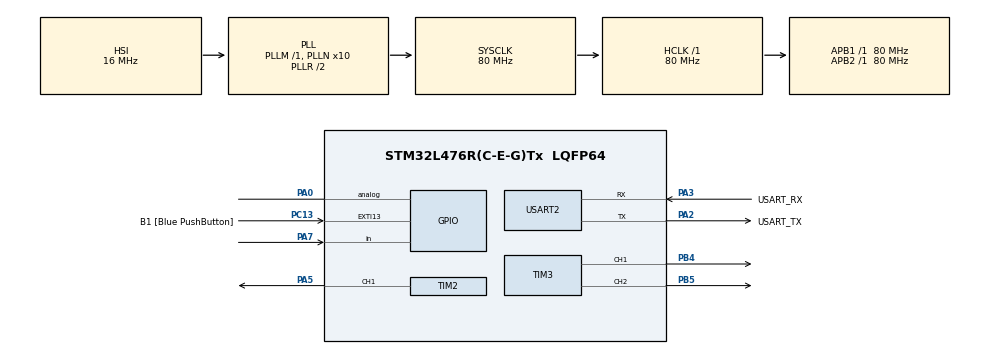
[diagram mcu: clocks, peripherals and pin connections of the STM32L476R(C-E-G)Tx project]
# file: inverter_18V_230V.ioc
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Mcu.Family=STM32L4
Mcu.Name=STM32L476R(C-E-G)Tx
Mcu.Package=LQFP64
NVIC.PriorityGroup=NVIC_PRIORITYGROUP_4
PA0.Signal=GPIO_Analog
PA13\ (JTMS-SWDIO).GPIO_Label=TMS
PA13\ (JTMS-SWDIO).Mode=Serial_Wire
PA13\ (JTMS-SWDIO).Signal=SYS_JTMS-SWDIO
PA14\ (JTCK-SWCLK).GPIO_Label=TCK
PA14\ (JTCK-SWCLK).Mode=Serial_Wire
PA14\ (JTCK-SWCLK).Signal=SYS_JTCK-SWCLK
PA2.GPIO_Label=USART_TX
PA2.GPIO_Mode=GPIO_MODE_AF_PP
PA2.GPIO_PuPd=GPIO_NOPULL
PA2.GPIO_Speed=GPIO_SPEED_FREQ_VERY_HIGH
PA2.Mode=Asynchronous
PA2.Signal=USART2_TX
PA3.GPIO_Label=USART_RX
PA3.GPIO_Mode=GPIO_MODE_AF_PP
PA3.GPIO_PuPd=GPIO_NOPULL
PA3.GPIO_Speed=GPIO_SPEED_FREQ_VERY_HIGH
PA3.Mode=Asynchronous
PA3.Signal=USART2_RX
PA5.Signal=S_TIM2_CH1
PA7.Signal=GPIO_Input
PA9.Signal=S_TIM1_CH2
PB3\ (JTDO-TRACESWO).GPIO_Label=SWO
PB3\ (JTDO-TRACESWO).Signal=SYS_JTDO-SWO
PB4\ (NJTRST).Signal=S_TIM3_CH1
PB5.Signal=S_TIM3_CH2
PC13.GPIO_Label=B1 [Blue PushButton]
PC13.GPIO_ModeDefaultEXTI=GPIO_MODE_IT_FALLING
PC13.GPIO_PuPd=GPIO_NOPULL
PC13.Signal=GPXTI13
PC14-OSC32_IN\ (PC14).Mode=LSE-External-Oscillator
PC14-OSC32_IN\ (PC14).Signal=RCC_OSC32_IN
PC15-OSC32_OUT\ (PC15).Mode=LSE-External-Oscillator
PC15-OSC32_OUT\ (PC15).Signal=RCC_OSC32_OUT
PH0-OSC_IN\ (PH0).Mode=HSE-External-Oscillator
PH0-OSC_IN\ (PH0).Signal=RCC_OSC_IN
PH1-OSC_OUT\ (PH1).Mode=HSE-External-Oscillator
PH1-OSC_OUT\ (PH1).Signal=RCC_OSC_OUT
ProjectManager.HeapSize=0x200
ProjectManager.StackSize=0x400
ProjectManager.TargetToolchain=STM32CubeIDE
RCC.ADCFreq_Value=64000000
RCC.AHBFreq_Value=80000000
RCC.APB1Freq_Value=80000000
RCC.APB1TimFreq_Value=80000000
RCC.APB2Freq_Value=80000000
RCC.APB2TimFreq_Value=80000000
RCC.CortexFreq_Value=80000000
RCC.HCLKFreq_Value=80000000
RCC.HSE_VALUE=8000000
RCC.HSI_VALUE=16000000
RCC.MSI_VALUE=4000000
RCC.PLLN=10
RCC.PLLSourceVirtual=RCC_PLLSOURCE_HSI
RCC.PREFETCH_ENABLE=1
RCC.SYSCLKFreq_VALUE=80000000
RCC.SYSCLKSource=RCC_SYSCLKSOURCE_PLLCLK
RCC.USBFreq_Value=64000000
RCC.VCOOutputFreq_Value=160000000
SH.S_TIM1_CH2.0=TIM1_CH2
SH.S_TIM2_CH1.0=TIM2_CH1,PWM Generation1 CH1
SH.S_TIM3_CH1.0=TIM3_CH1,PWM Generation1 CH1
SH.S_TIM3_CH2.0=TIM3_CH2,PWM Generation2 CH2
TIM2.AutoReloadPreload=TIM_AUTORELOAD_PRELOAD_ENABLE
TIM2.Channel-PWM\ Generation1\ CH1=TIM_CHANNEL_1
TIM2.Period=65535
TIM3.Channel-PWM\ Generation1\ CH1=TIM_CHANNEL_1
TIM3.Channel-PWM\ Generation2\ CH2=TIM_CHANNEL_2
USART2.VirtualMode-Asynchronous=VM_ASYNC
VP_TIM2_VS_ClockSourceINT.Mode=Internal
board=NUCLEO-L476RG

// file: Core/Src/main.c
/* USER CODE BEGIN Header */
/**
  ******************************************************************************
  * @file           : main.c
  * @brief          : Main program body
  ******************************************************************************
  * @attention
  *
  * Copyright (c) 2022 STMicroelectronics.
  * All rights reserved.
  *
  * This software is licensed under terms that can be found in the LICENSE file
  * in the root directory of this software component.
  * If no LICENSE file comes with this software, it is provided AS-IS.
  *
  ******************************************************************************
  */
/* USER CODE END Header */
#include "main.h"

/* USER CODE BEGIN PTD */
typedef enum { Positiv_rising, Positiv_falling, Negative_falling, Negative_rising } states;
/* USER CODE END PTD */

 TIM_HandleTypeDef htim2;
TIM_HandleTypeDef htim3;

UART_HandleTypeDef huart2;

void SystemClock_Config(void);
static void MX_GPIO_Init(void);
static void MX_USART2_UART_Init(void);
static void MX_TIM2_Init(void);
static void MX_TIM3_Init(void);

int main(void)
{
  /* USER CODE BEGIN 1 */
  int32_t CH1_DC = 0;
  int32_t UPPER_THRESHOLD = 43690;
  int16_t STEP_SIZE = UPPER_THRESHOLD/5;
  states Wavestatus = Positiv_rising;

  /* USER CODE END 1 */

  /* MCU Configuration--------------------------------------------------------*/

  /* Reset of all peripherals, Initializes the Flash interface and the Systick. */
  HAL_Init();

  /* Configure the system clock */
  SystemClock_Config();

  /* Initialize all configured peripherals */
  MX_GPIO_Init();
  MX_USART2_UART_Init();
  MX_TIM2_Init();
  MX_TIM3_Init();
  /* USER CODE BEGIN 2 */
  // Start PWM
  HAL_TIM_PWM_Start(&htim2, TIM_CHANNEL_1);
  HAL_TIM_PWM_Start(&htim3, TIM_CHANNEL_1);
  HAL_TIM_PWM_Start(&htim3, TIM_CHANNEL_2);

  /* USER CODE END 2 */

  /* Infinite loop */
  /* USER CODE BEGIN WHILE */
  while (1)
  {
	  switch(Wavestatus) {
	  case Positiv_rising: {
		  CH1_DC += STEP_SIZE;
		  TIM2->CCR1 = CH1_DC;
		  __HAL_TIM_SET_COMPARE(&htim3, TIM_CHANNEL_1, CH1_DC);
		  __HAL_TIM_SET_COMPARE(&htim3, TIM_CHANNEL_2, 0);
		  if (CH1_DC >= UPPER_THRESHOLD) Wavestatus = Positiv_falling;
		  break;
	  }
	  case Positiv_falling: {
		  CH1_DC -= STEP_SIZE;
		  TIM2->CCR1 = CH1_DC;
		  __HAL_TIM_SET_COMPARE(&htim3, TIM_CHANNEL_1, CH1_DC);
		  __HAL_TIM_SET_COMPARE(&htim3, TIM_CHANNEL_2, 0);
		  if (CH1_DC <= 0)  Wavestatus = Negative_falling;
		  break;
	  }
	  case Negative_falling: {
		  CH1_DC += STEP_SIZE;
		  __HAL_TIM_SET_COMPARE(&htim3, TIM_CHANNEL_1, 0);
		  __HAL_TIM_SET_COMPARE(&htim3, TIM_CHANNEL_2, CH1_DC);
		  if (CH1_DC >= UPPER_THRESHOLD)  Wavestatus = Negative_rising;
		  break;
	  }
	  case Negative_rising: {
		  CH1_DC -= STEP_SIZE;
		  __HAL_TIM_SET_COMPARE(&htim3, TIM_CHANNEL_1, 0);
		  __HAL_TIM_SET_COMPARE(&htim3, TIM_CHANNEL_2, CH1_DC);
		  if (CH1_DC <= 0)  Wavestatus = Positiv_rising;
		  break;
	  }
	  }
	  HAL_Delay(1);

	  /*
	  while(CH1_DC < UPPER_THRESHOLD)
	  {
		  TIM2->CCR1 = CH1_DC;
		  CH1_DC += STEP_SIZE;
		  HAL_Delay(1);
	  }
	  while(CH1_DC > 0)
	  {
		  TIM2->CCR1 = CH1_DC;
		  CH1_DC -= STEP_SIZE;
		  HAL_Delay(1);
	  }*/

    /* USER CODE END WHILE */

  }
}

void SystemClock_Config(void)
{
  RCC_OscInitTypeDef RCC_OscInitStruct = {0};
  RCC_ClkInitTypeDef RCC_ClkInitStruct = {0};

  /** Configure the main internal regulator output voltage
  */
  if (HAL_PWREx_ControlVoltageScaling(PWR_REGULATOR_VOLTAGE_SCALE1) != HAL_OK)
  {
    Error_Handler();
  }

  /** Initializes the RCC Oscillators according to the specified parameters
  * in the RCC_OscInitTypeDef structure.
  */
  RCC_OscInitStruct.OscillatorType = RCC_OSCILLATORTYPE_HSI;
  RCC_OscInitStruct.HSIState = RCC_HSI_ON;
  RCC_OscInitStruct.HSICalibrationValue = RCC_HSICALIBRATION_DEFAULT;
  RCC_OscInitStruct.PLL.PLLState = RCC_PLL_ON;
  RCC_OscInitStruct.PLL.PLLSource = RCC_PLLSOURCE_HSI;
  RCC_OscInitStruct.PLL.PLLM = 1;
  RCC_OscInitStruct.PLL.PLLN = 10;
  RCC_OscInitStruct.PLL.PLLP = RCC_PLLP_DIV7;
  RCC_OscInitStruct.PLL.PLLQ = RCC_PLLQ_DIV2;
  RCC_OscInitStruct.PLL.PLLR = RCC_PLLR_DIV2;
  if (HAL_RCC_OscConfig(&RCC_OscInitStruct) != HAL_OK)
  {
    Error_Handler();
  }

  /** Initializes the CPU, AHB and APB buses clocks
  */
  RCC_ClkInitStruct.ClockType = RCC_CLOCKTYPE_HCLK|RCC_CLOCKTYPE_SYSCLK
                              |RCC_CLOCKTYPE_PCLK1|RCC_CLOCKTYPE_PCLK2;
  RCC_ClkInitStruct.SYSCLKSource = RCC_SYSCLKSOURCE_PLLCLK;
  RCC_ClkInitStruct.AHBCLKDivider = RCC_SYSCLK_DIV1;
  RCC_ClkInitStruct.APB1CLKDivider = RCC_HCLK_DIV1;
  RCC_ClkInitStruct.APB2CLKDivider = RCC_HCLK_DIV1;

  if (HAL_RCC_ClockConfig(&RCC_ClkInitStruct, FLASH_LATENCY_4) != HAL_OK)
  {
    Error_Handler();
  }
}

static void MX_TIM2_Init(void)
{

  TIM_ClockConfigTypeDef sClockSourceConfig = {0};
  TIM_MasterConfigTypeDef sMasterConfig = {0};
  TIM_OC_InitTypeDef sConfigOC = {0};

  htim2.Instance = TIM2;
  htim2.Init.Prescaler = 0;
  htim2.Init.CounterMode = TIM_COUNTERMODE_UP;
  htim2.Init.Period = 65535;
  htim2.Init.ClockDivision = TIM_CLOCKDIVISION_DIV1;
  htim2.Init.AutoReloadPreload = TIM_AUTORELOAD_PRELOAD_ENABLE;
  if (HAL_TIM_Base_Init(&htim2) != HAL_OK)
  {
    Error_Handler();
  }
  sClockSourceConfig.ClockSource = TIM_CLOCKSOURCE_INTERNAL;
  if (HAL_TIM_ConfigClockSource(&htim2, &sClockSourceConfig) != HAL_OK)
  {
    Error_Handler();
  }
  if (HAL_TIM_PWM_Init(&htim2) != HAL_OK)
  {
    Error_Handler();
  }
  sMasterConfig.MasterOutputTrigger = TIM_TRGO_RESET;
  sMasterConfig.MasterSlaveMode = TIM_MASTERSLAVEMODE_DISABLE;
  if (HAL_TIMEx_MasterConfigSynchronization(&htim2, &sMasterConfig) != HAL_OK)
  {
    Error_Handler();
  }
  sConfigOC.OCMode = TIM_OCMODE_PWM1;
  sConfigOC.Pulse = 0;
  sConfigOC.OCPolarity = TIM_OCPOLARITY_HIGH;
  sConfigOC.OCFastMode = TIM_OCFAST_DISABLE;
  if (HAL_TIM_PWM_ConfigChannel(&htim2, &sConfigOC, TIM_CHANNEL_1) != HAL_OK)
  {
    Error_Handler();
  }
  HAL_TIM_MspPostInit(&htim2);

}

static void MX_TIM3_Init(void)
{

  TIM_MasterConfigTypeDef sMasterConfig = {0};
  TIM_OC_InitTypeDef sConfigOC = {0};

  htim3.Instance = TIM3;
  htim3.Init.Prescaler = 0;
  htim3.Init.CounterMode = TIM_COUNTERMODE_UP;
  htim3.Init.Period = 65535;
  htim3.Init.ClockDivision = TIM_CLOCKDIVISION_DIV1;
  htim3.Init.AutoReloadPreload = TIM_AUTORELOAD_PRELOAD_DISABLE;
  if (HAL_TIM_PWM_Init(&htim3) != HAL_OK)
  {
    Error_Handler();
  }
  sMasterConfig.MasterOutputTrigger = TIM_TRGO_RESET;
  sMasterConfig.MasterSlaveMode = TIM_MASTERSLAVEMODE_DISABLE;
  if (HAL_TIMEx_MasterConfigSynchronization(&htim3, &sMasterConfig) != HAL_OK)
  {
    Error_Handler();
  }
  sConfigOC.OCMode = TIM_OCMODE_PWM1;
  sConfigOC.Pulse = 0;
  sConfigOC.OCPolarity = TIM_OCPOLARITY_HIGH;
  sConfigOC.OCFastMode = TIM_OCFAST_DISABLE;
  if (HAL_TIM_PWM_ConfigChannel(&htim3, &sConfigOC, TIM_CHANNEL_1) != HAL_OK)
  {
    Error_Handler();
  }
  if (HAL_TIM_PWM_ConfigChannel(&htim3, &sConfigOC, TIM_CHANNEL_2) != HAL_OK)
  {
    Error_Handler();
  }
  HAL_TIM_MspPostInit(&htim3);

}

static void MX_USART2_UART_Init(void)
{

  huart2.Instance = USART2;
  huart2.Init.BaudRate = 115200;
  huart2.Init.WordLength = UART_WORDLENGTH_8B;
  huart2.Init.StopBits = UART_STOPBITS_1;
  huart2.Init.Parity = UART_PARITY_NONE;
  huart2.Init.Mode = UART_MODE_TX_RX;
  huart2.Init.HwFlowCtl = UART_HWCONTROL_NONE;
  huart2.Init.OverSampling = UART_OVERSAMPLING_16;
  huart2.Init.OneBitSampling = UART_ONE_BIT_SAMPLE_DISABLE;
  huart2.AdvancedInit.AdvFeatureInit = UART_ADVFEATURE_NO_INIT;
  if (HAL_UART_Init(&huart2) != HAL_OK)
  {
    Error_Handler();
  }

}

static void MX_GPIO_Init(void)
{
  GPIO_InitTypeDef GPIO_InitStruct = {0};

  /* GPIO Ports Clock Enable */
  __HAL_RCC_GPIOC_CLK_ENABLE();
  __HAL_RCC_GPIOH_CLK_ENABLE();
  __HAL_RCC_GPIOA_CLK_ENABLE();
  __HAL_RCC_GPIOB_CLK_ENABLE();

  /*Configure GPIO pin : B1_Pin */
  GPIO_InitStruct.Pin = B1_Pin;
  GPIO_InitStruct.Mode = GPIO_MODE_IT_FALLING;
  GPIO_InitStruct.Pull = GPIO_NOPULL;
  HAL_GPIO_Init(B1_GPIO_Port, &GPIO_InitStruct);

  /*Configure GPIO pin : PA0 */
  GPIO_InitStruct.Pin = GPIO_PIN_0;
  GPIO_InitStruct.Mode = GPIO_MODE_ANALOG;
  GPIO_InitStruct.Pull = GPIO_NOPULL;
  HAL_GPIO_Init(GPIOA, &GPIO_InitStruct);

  /*Configure GPIO pin : PA7 */
  GPIO_InitStruct.Pin = GPIO_PIN_7;
  GPIO_InitStruct.Mode = GPIO_MODE_INPUT;
  GPIO_InitStruct.Pull = GPIO_NOPULL;
  HAL_GPIO_Init(GPIOA, &GPIO_InitStruct);

  /*Configure GPIO pin : PA9 */
  GPIO_InitStruct.Pin = GPIO_PIN_9;
  GPIO_InitStruct.Mode = GPIO_MODE_AF_PP;
  GPIO_InitStruct.Pull = GPIO_NOPULL;
  GPIO_InitStruct.Speed = GPIO_SPEED_FREQ_LOW;
  GPIO_InitStruct.Alternate = GPIO_AF1_TIM1;
  HAL_GPIO_Init(GPIOA, &GPIO_InitStruct);

}

void Error_Handler(void)
{
  __disable_irq();
  while (1)
  {
  }
}
